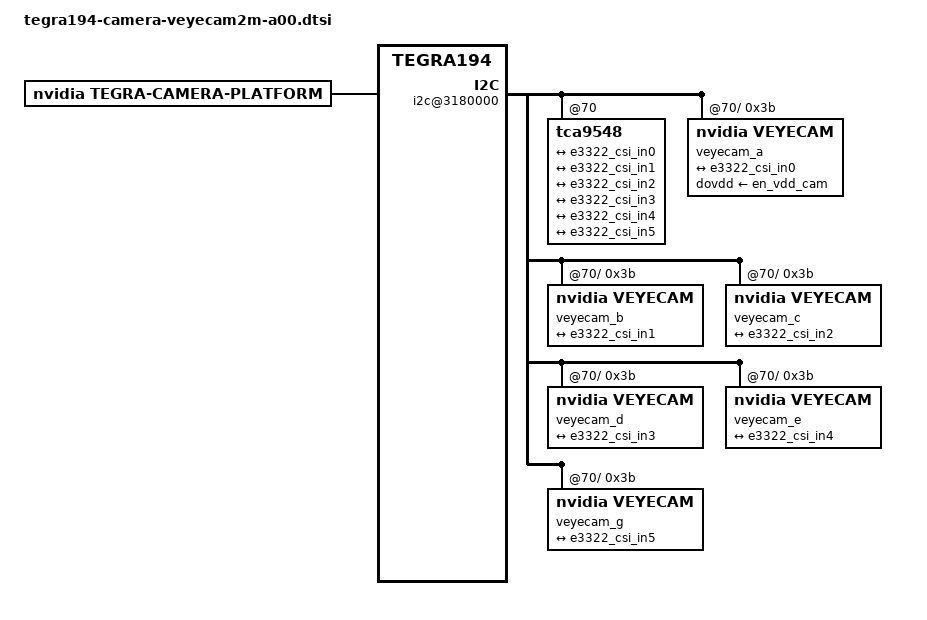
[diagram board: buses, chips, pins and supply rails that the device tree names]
/*
 * Copyright (c) 2015-2018, NVIDIA CORPORATION.  All rights reserved.
 *
 * This program is free software; you can redistribute it and/or modify
 * it under the terms of the GNU General Public License as published by
 * the Free Software Foundation; either version 2 of the License, or
 * (at your option) any later version.
 *
 * This program is distributed in the hope that it will be useful, but WITHOUT
 * ANY WARRANTY; without even the implied warranty of MERCHANTABILITY or
 * FITNESS FOR A PARTICULAR PURPOSE.  See the GNU General Public License for
 * more details.
 *
 * You should have received a copy of the GNU General Public License
 * along with this program.  If not, see <http://www.gnu.org/licenses/>.
 */

/* camera control gpio definitions */
/ {
	host1x {
		vi@15c10000 {
			num-channels = <6>;
			ports {
				#address-cells = <1>;
				#size-cells = <0>;
				port@0 {
					reg = <0>;
					e3322_vi_in0: endpoint {
						port-index = <0>;
						bus-width = <2>;
						remote-endpoint = <&e3322_csi_out0>;
						status = "okay";
					};
				};
				port@1 {
					reg = <1>;
					e3322_vi_in1: endpoint {
						port-index = <1>;
						bus-width = <2>;
						remote-endpoint = <&e3322_csi_out1>;
						status = "okay";
					};
				};
				port@2 {
					reg = <2>;
					e3322_vi_in2: endpoint {
						port-index = <2>;
						bus-width = <2>;
						remote-endpoint = <&e3322_csi_out2>;
						status = "okay";
					};
				};
				port@3 {
					reg = <3>;
					e3322_vi_in3: endpoint {
						port-index = <3>;
						bus-width = <2>;
						remote-endpoint = <&e3322_csi_out3>;
						status = "okay";
					};
				};
				port@4 {
					reg = <4>;
					e3322_vi_in4: endpoint {
						port-index = <4>;
						bus-width = <2>;
						remote-endpoint = <&e3322_csi_out4>;
						status = "okay";
					};
				};
				port@5 {
					reg = <5>;
					e3322_vi_in5: endpoint {
						port-index = <5>;
						bus-width = <2>;
						remote-endpoint = <&e3322_csi_out5>;
						status = "okay";
					};
				};
			};
		};

		nvcsi@15a00000 {
			num-channels = <6>;
			#address-cells = <0x1>;
			#size-cells = <0x0>;

			channel@0 {
				reg = <0>;
				ports {
					#address-cells = <1>;
					#size-cells = <0>;
					port@0 {
						reg = <0>;
						e3322_csi_in0: endpoint@0 {
							port-index = <0>;
							bus-width = <2>;
							remote-endpoint = <&e3322_veyecam_out0>;
						};
					};
					port@1 {
						reg = <1>;
						e3322_csi_out0: endpoint@1 {
							remote-endpoint = <&e3322_vi_in0>;
						};
					};
				};
			};
			channel@1 {
				reg = <1>;
				ports {
					#address-cells = <1>;
					#size-cells = <0>;
					port@0 {
						reg = <0>;
						e3322_csi_in1: endpoint@2 {
							port-index = <1>;
							bus-width = <2>;
							remote-endpoint = <&e3322_veyecam_out1>;
						};
					};
					port@1 {
						reg = <1>;
						e3322_csi_out1: endpoint@3 {
							remote-endpoint = <&e3322_vi_in1>;
						};
					};
				};
			};
			channel@2 {
				reg = <2>;
				ports {
					#address-cells = <1>;
					#size-cells = <0>;
					port@0 {
						reg = <0>;
						e3322_csi_in2: endpoint@4 {
							port-index = <2>;
							bus-width = <2>;
							remote-endpoint = <&e3322_veyecam_out2>;
						};
					};
					port@1 {
						reg = <1>;
						e3322_csi_out2: endpoint@5 {
							remote-endpoint = <&e3322_vi_in2>;
						};
					};
				};
			};
			channel@3 {
				reg = <3>;
				ports {
					#address-cells = <1>;
					#size-cells = <0>;
					port@0 {
						reg = <0>;
						e3322_csi_in3: endpoint@6 {
							port-index = <3>;
							bus-width = <2>;
							remote-endpoint = <&e3322_veyecam_out3>;
						};
					};
					port@1 {
						reg = <1>;
						e3322_csi_out3: endpoint@7 {
							remote-endpoint = <&e3322_vi_in3>;
						};
					};
				};
			};
			channel@4 {
				reg = <4>;
				ports {
					#address-cells = <1>;
					#size-cells = <0>;
					port@0 {
						reg = <0>;
						e3322_csi_in4: endpoint@8 {
							port-index = <4>;
							bus-width = <2>;
							remote-endpoint = <&e3322_veyecam_out4>;
						};
					};
					port@1 {
						reg = <1>;
						e3322_csi_out4: endpoint@9 {
							remote-endpoint = <&e3322_vi_in4>;
						};
					};
				};
			};
			channel@5 {
				reg = <5>;
				ports {
					#address-cells = <1>;
					#size-cells = <0>;
					port@0 {
						reg = <0>;
						e3322_csi_in5: endpoint@10 {
							port-index = <6>;
							bus-width = <2>;
							remote-endpoint = <&e3322_veyecam_out5>;
						};
					};
					port@1 {
						reg = <1>;
						e3322_csi_out5: endpoint@11 {
							remote-endpoint = <&e3322_vi_in5>;
						};
					};
				};
			};
		};
	};

	i2c@3180000 {
		tca9548@70 {
			i2c@0 {
				veyecam_a@3b {
					devnode = "video0";
					compatible = "nvidia,veyecam";
					reg = <0x3b>;

					/* Physical dimensions of sensor */
                    physical_w = "5.6";
                    physical_h = "3.1";

					sensor_model = "veyecam";
					use_sensor_mode_id = "false";
					dovdd-supply = <&en_vdd_cam>;
					avdd-reg = "vana";
					dvdd-reg = "vdig";
					iovdd-reg = "dovdd";

					mode0 { /* CS307_MODE_1920X1080_30FPS */
					mclk_khz = "24000";
					num_lanes = "2";
					tegra_sinterface = "serial_a";
					phy_mode = "DPHY";
					discontinuous_clk = "no";
					dpcm_enable = "false";
					cil_settletime = "0";

					active_w = "1920";
					active_h = "1080";
					pixel_t = "yuv_uyvy16";
					readout_orientation = "0";
					line_length = "2200";
					inherent_gain = "1";
					mclk_multiplier = "2";
					pix_clk_hz = "74250000";

					gain_factor = "16";
					framerate_factor = "1000000";
					exposure_factor = "1000000";
					min_gain_val = "16"; /* 1.00x */
					max_gain_val = "170"; /* 10.66x */
					step_gain_val = "1";
					default_gain = "16"; /* 1.00x */
					min_hdr_ratio = "1";
					max_hdr_ratio = "1";
					min_framerate = "2000000"; /* 2.0 fps */
					max_framerate = "30000000"; /* 30 fps */
					step_framerate = "1";
					default_framerate = "30000000"; /* 30 fps */
					min_exp_time = "13"; /* us */
					max_exp_time = "333333"; /* us */
					step_exp_time = "1";
					default_exp_time = "2495"; /* us */

					embedded_metadata_height = "0";
				};

					ports {
						#address-cells = <1>;
						#size-cells = <0>;

						port@0 {
							reg = <0>;
							e3322_veyecam_out0: endpoint {
								port-index = <0>;
								bus-width = <2>;
								remote-endpoint = <&e3322_csi_in0>;
							};
						};
					};
				};
            };
            i2c@1 {
				veyecam_b@3b {
					devnode = "video1";
					compatible = "nvidia,veyecam";
					reg = <0x3b>;
                    sensor_model = "veyecam";
					/* Physical dimensions of sensor */
                    physical_w = "5.6";
                    physical_h = "3.1";
                    use_sensor_mode_id = "false";

					avdd-reg = "vana";
					dvdd-reg = "vdig";
					iovdd-reg = "dovdd";
                               mode0 { /* CS307_MODE_1920X1080_30FPS */
					mclk_khz = "24000";
					num_lanes = "2";
					tegra_sinterface = "serial_b";
					phy_mode = "DPHY";
					discontinuous_clk = "no";
					dpcm_enable = "false";
					cil_settletime = "0";

					active_w = "1920";
					active_h = "1080";
					pixel_t = "yuv_uyvy16";
					readout_orientation = "0";
					line_length = "2200";
					inherent_gain = "1";
					mclk_multiplier = "2";
					pix_clk_hz = "74250000";

					gain_factor = "16";
					framerate_factor = "1000000";
					exposure_factor = "1000000";
					min_gain_val = "16"; /* 1.00x */
					max_gain_val = "170"; /* 10.66x */
					step_gain_val = "1";
					default_gain = "16"; /* 1.00x */
					min_hdr_ratio = "1";
					max_hdr_ratio = "1";
					min_framerate = "2000000"; /* 2.0 fps */
					max_framerate = "30000000"; /* 30 fps */
					step_framerate = "1";
					default_framerate = "30000000"; /* 30 fps */
					min_exp_time = "13"; /* us */
					max_exp_time = "333333"; /* us */
					step_exp_time = "1";
					default_exp_time = "2495"; /* us */

					embedded_metadata_height = "0";
				};
					ports {
						#address-cells = <1>;
						#size-cells = <0>;

						port@0 {
							reg = <0>;
							e3322_veyecam_out1: endpoint {
								port-index = <1>;
								bus-width = <2>;
								remote-endpoint = <&e3322_csi_in1>;
							};
						};
					};
				};
			};
			i2c@2 {
				veyecam_c@3b {
					devnode = "video2";
					compatible = "nvidia,veyecam";
					reg = <0x3b>;

                    sensor_model = "veyecam";
					/* Physical dimensions of sensor */
                    physical_w = "5.6";
                    physical_h = "3.1";
                    use_sensor_mode_id = "false";

					avdd-reg = "vana";
					dvdd-reg = "vdig";
					iovdd-reg = "dovdd";
                    mode0 { /* CS307_MODE_1920X1080_30FPS */
					mclk_khz = "24000";
					num_lanes = "2";
					tegra_sinterface = "serial_c";
					phy_mode = "DPHY";
					discontinuous_clk = "no";
					dpcm_enable = "false";
					cil_settletime = "0";

					active_w = "1920";
					active_h = "1080";
					pixel_t = "yuv_uyvy16";
					readout_orientation = "0";
					line_length = "2200";
					inherent_gain = "1";
					mclk_multiplier = "2";
					pix_clk_hz = "74250000";

					gain_factor = "16";
					framerate_factor = "1000000";
					exposure_factor = "1000000";
					min_gain_val = "16"; /* 1.00x */
					max_gain_val = "170"; /* 10.66x */
					step_gain_val = "1";
					default_gain = "16"; /* 1.00x */
					min_hdr_ratio = "1";
					max_hdr_ratio = "1";
					min_framerate = "2000000"; /* 2.0 fps */
					max_framerate = "30000000"; /* 30 fps */
					step_framerate = "1";
					default_framerate = "30000000"; /* 30 fps */
					min_exp_time = "13"; /* us */
					max_exp_time = "333333"; /* us */
					step_exp_time = "1";
					default_exp_time = "2495"; /* us */

					embedded_metadata_height = "0";
				};
              

					ports {
						#address-cells = <1>;
						#size-cells = <0>;

						port@0 {
							reg = <0>;
							e3322_veyecam_out2: endpoint {
								port-index = <2>;
								bus-width = <2>;
								remote-endpoint = <&e3322_csi_in2>;
							};
						};
					};
				};
            };
        i2c@3 {
				veyecam_d@3b {
					devnode = "video3";
					compatible = "nvidia,veyecam";
					reg = <0x3b>;
                    sensor_model = "veyecam";
					/* Physical dimensions of sensor */
                    physical_w = "5.6";
                    physical_h = "3.1";
                    use_sensor_mode_id = "false";

					avdd-reg = "vana";
					dvdd-reg = "vdig";
					iovdd-reg = "dovdd";
                mode0 { /* CS307_MODE_1920X1080_30FPS */
					mclk_khz = "24000";
					num_lanes = "2";
					tegra_sinterface = "serial_d";
					phy_mode = "DPHY";
					discontinuous_clk = "no";
					dpcm_enable = "false";
					cil_settletime = "0";

					active_w = "1920";
					active_h = "1080";
					pixel_t = "yuv_uyvy16";
					readout_orientation = "0";
					line_length = "2200";
					inherent_gain = "1";
					mclk_multiplier = "2";
					pix_clk_hz = "74250000";

					gain_factor = "16";
					framerate_factor = "1000000";
					exposure_factor = "1000000";
					min_gain_val = "16"; /* 1.00x */
					max_gain_val = "170"; /* 10.66x */
					step_gain_val = "1";
					default_gain = "16"; /* 1.00x */
					min_hdr_ratio = "1";
					max_hdr_ratio = "1";
					min_framerate = "2000000"; /* 2.0 fps */
					max_framerate = "30000000"; /* 30 fps */
					step_framerate = "1";
					default_framerate = "30000000"; /* 30 fps */
					min_exp_time = "13"; /* us */
					max_exp_time = "333333"; /* us */
					step_exp_time = "1";
					default_exp_time = "2495"; /* us */

					embedded_metadata_height = "0";
				};
               
					ports {
						#address-cells = <1>;
						#size-cells = <0>;

						port@0 {
							reg = <0>;
							e3322_veyecam_out3: endpoint {
								port-index = <3>;
								bus-width = <2>;
								remote-endpoint = <&e3322_csi_in3>;
							};
						};
					};
				};
			};
			i2c@4 {
				veyecam_e@3b {
					devnode = "video4";
					compatible = "nvidia,veyecam";
					reg = <0x3b>;
                    sensor_model = "veyecam";
					/* Physical dimensions of sensor */
                    physical_w = "5.6";
                    physical_h = "3.1";
                    use_sensor_mode_id = "false";

					avdd-reg = "vana";
					dvdd-reg = "vdig";
					iovdd-reg = "dovdd";
                mode0 { /* CS307_MODE_1920X1080_30FPS */
					mclk_khz = "24000";
					num_lanes = "2";
					tegra_sinterface = "serial_e";
					phy_mode = "DPHY";
					discontinuous_clk = "no";
					dpcm_enable = "false";
					cil_settletime = "0";

					active_w = "1920";
					active_h = "1080";
					pixel_t = "yuv_uyvy16";
					readout_orientation = "0";
					line_length = "2200";
					inherent_gain = "1";
					mclk_multiplier = "2";
					pix_clk_hz = "74250000";

					gain_factor = "16";
					framerate_factor = "1000000";
					exposure_factor = "1000000";
					min_gain_val = "16"; /* 1.00x */
					max_gain_val = "170"; /* 10.66x */
					step_gain_val = "1";
					default_gain = "16"; /* 1.00x */
					min_hdr_ratio = "1";
					max_hdr_ratio = "1";
					min_framerate = "2000000"; /* 2.0 fps */
					max_framerate = "30000000"; /* 30 fps */
					step_framerate = "1";
					default_framerate = "30000000"; /* 30 fps */
					min_exp_time = "13"; /* us */
					max_exp_time = "333333"; /* us */
					step_exp_time = "1";
					default_exp_time = "2495"; /* us */

					embedded_metadata_height = "0";
				};
               

					ports {
						#address-cells = <1>;
						#size-cells = <0>;

						port@0 {
							reg = <0>;
							e3322_veyecam_out4: endpoint {
								port-index = <4>;
								bus-width = <2>;
								remote-endpoint = <&e3322_csi_in4>;
							};
						};
					};
				};
            };
            i2c@5 {
				veyecam_g@3b {
					devnode = "video5";
					compatible = "nvidia,veyecam";
					reg = <0x3b>;
                    sensor_model = "veyecam";
					/* Physical dimensions of sensor */
                    physical_w = "5.6";
                    physical_h = "3.1";
                    use_sensor_mode_id = "false";

					avdd-reg = "vana";
					dvdd-reg = "vdig";
					iovdd-reg = "dovdd";
                mode0 { /* CS307_MODE_1920X1080_30FPS */
					mclk_khz = "24000";
					num_lanes = "2";
					tegra_sinterface = "serial_g";
					phy_mode = "DPHY";
					discontinuous_clk = "no";
					dpcm_enable = "false";
					cil_settletime = "0";

					active_w = "1920";
					active_h = "1080";
					pixel_t = "yuv_uyvy16";
					readout_orientation = "0";
					line_length = "2200";
					inherent_gain = "1";
					mclk_multiplier = "2";
					pix_clk_hz = "74250000";

					gain_factor = "16";
					framerate_factor = "1000000";
					exposure_factor = "1000000";
					min_gain_val = "16"; /* 1.00x */
					max_gain_val = "170"; /* 10.66x */
					step_gain_val = "1";
					default_gain = "16"; /* 1.00x */
					min_hdr_ratio = "1";
					max_hdr_ratio = "1";
					min_framerate = "2000000"; /* 2.0 fps */
					max_framerate = "30000000"; /* 30 fps */
					step_framerate = "1";
					default_framerate = "30000000"; /* 30 fps */
					min_exp_time = "13"; /* us */
					max_exp_time = "333333"; /* us */
					step_exp_time = "1";
					default_exp_time = "2495"; /* us */

					embedded_metadata_height = "0";
				};
               
					ports {
						#address-cells = <1>;
						#size-cells = <0>;

						port@0 {
							reg = <0>;
							e3322_veyecam_out5: endpoint {
								port-index = <5>;
								bus-width = <2>;
								remote-endpoint = <&e3322_csi_in5>;
							};
						};
					};
				};
			};
		};
	};
};


/* camera control gpio definitions */
/ {
	tegra-camera-platform {
		compatible = "nvidia, tegra-camera-platform";

		/**
		* Physical settings to calculate max ISO BW
		*
		* num_csi_lanes = <>;
		* Total number of CSI lanes when all cameras are active
		*
		* max_lane_speed = <>;
		* Max lane speed in Kbit/s
		*
		* min_bits_per_pixel = <>;
		* Min bits per pixel
		*
		* vi_peak_byte_per_pixel = <>;
		* Max byte per pixel for the VI ISO case
		*
		* vi_bw_margin_pct = <>;
		* Vi bandwidth margin in percentage
		*
		* max_pixel_rate = <>;
		* Max pixel rate in Kpixel/s for the ISP ISO case
		*
		* isp_peak_byte_per_pixel = <>;
		* Max byte per pixel for the ISP ISO case
		*
		* isp_bw_margin_pct = <>;
		* Isp bandwidth margin in percentage
		*/
		num_csi_lanes = <12>;
		max_lane_speed = <1500000>;
		min_bits_per_pixel = <8>;
		vi_peak_byte_per_pixel = <2>;
		vi_bw_margin_pct = <25>;
		isp_peak_byte_per_pixel = <5>;
		isp_bw_margin_pct = <25>;

		/**
		 * The general guideline for naming badge_info contains 3 parts, and is as follows,
		 * The first part is the camera_board_id for the module; if the module is in a FFD
		 * platform, then use the platform name for this part.
		 * The second part contains the position of the module, ex. “rear” or “front”.
		 * The third part contains the last 6 characters of a part number which is found
		 * in the module's specsheet from the vender.
		 */
		modules {
			module0 {
				badge = "e3322_bottomleft_A815P2";
				position = "bottomleft";
				orientation = "1";
				drivernode0 {
					status = "okay";
					pcl_id = "v4l2_sensor";
					devname = "csx307 30-003b";
					proc-device-tree = "/proc/device-tree/i2c@3180000/tca9548@70/i2c@0/veyecam_a@3b";
				};
				/*drivernode1 {
					pcl_id = "v4l2_lens";
				};*/
			};
			module1 {
				badge = "e3322_centerleft_A815P2";
				position = "centerleft";
				orientation = "1";
				drivernode0 {
					status = "okay";
					pcl_id = "v4l2_sensor";
					devname = "csx307 31-003b";
					proc-device-tree = "/proc/device-tree/i2c@3180000/tca9548@70/i2c@1/veyecam_b@3b";
				};
				/*drivernode1 {
					pcl_id = "v4l2_lens";
				};*/
			};
			module2 {
				badge = "e3322_centerright_A815P2";
				position = "centerright";
				orientation = "1";
				drivernode0 {
					status = "okay";
					pcl_id = "v4l2_sensor";
					devname = "csx307 32-003b";
					proc-device-tree = "/proc/device-tree/i2c@3180000/tca9548@70/i2c@2/veyecam_c@3b";
				};
				/*drivernode1 {
					pcl_id = "v4l2_lens";
				};*/
			};
			module3 {
				badge = "e3322_topleft_A815P2";
				position = "topleft";
				orientation = "1";
				drivernode0 {
					status = "okay";
					pcl_id = "v4l2_sensor";
					devname = "csx307 33-003b";
					proc-device-tree = "/proc/device-tree/i2c@3180000/tca9548@70/i2c@3/veyecam_d@3b";
				};
				/*drivernode1 {
					pcl_id = "v4l2_lens";
				};*/
			};
			module4 {
				badge = "e3322_bottomright_A815P2";
				position = "bottomright";
				orientation = "1";
				drivernode0 {
					status = "okay";
					pcl_id = "v4l2_sensor";
					devname = "csx307 34-003b";
					proc-device-tree = "/proc/device-tree/i2c@3180000/tca9548@70/i2c@4/veyecam_e@3b";
				};
				/*drivernode1 {
					pcl_id = "v4l2_lens";
				};*/
			};
			module5 {
				badge = "e3322_topright_A815P2";
				position = "topright";
				orientation = "1";
				drivernode0 {
					status = "okay";
					pcl_id = "v4l2_sensor";
					devname = "veyecam 35-003b";
					proc-device-tree = "/proc/device-tree/i2c@3180000/tca9548@70/i2c@5/veyecam_g@3b";
				};
			/*	drivernode1 {
					pcl_id = "v4l2_lens";
				};*/
			};
		};
	};
};
